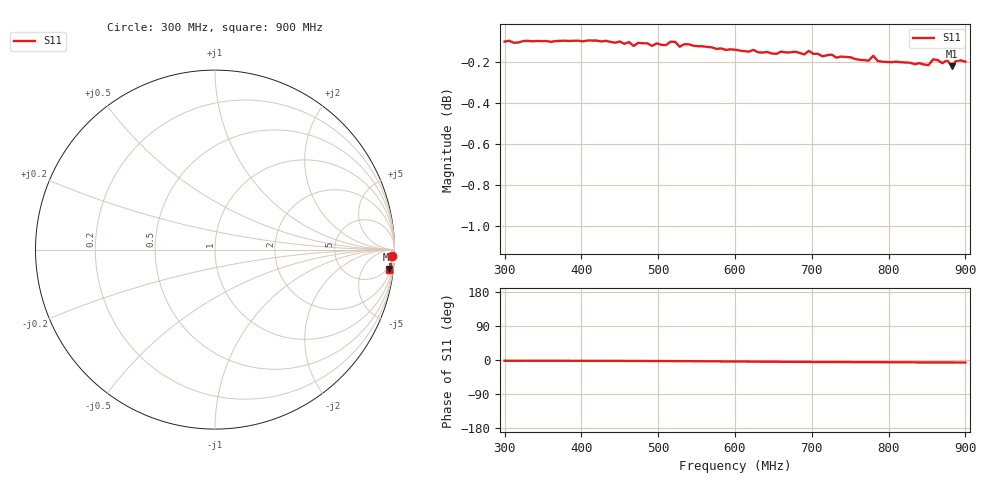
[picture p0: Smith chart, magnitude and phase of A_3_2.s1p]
# HZ S RI R 50
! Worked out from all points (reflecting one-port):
!   101 points, 300 MHz to 900 MHz, reference 50 ohm
!   lowest |S11| = -0.2 dB at 882 MHz (marker M1), VSWR 78.54, Z = 196 - j854 ohm
!   phase of S11 starts at -2 deg and turns -4 deg over the sweep
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3e8  0.9876 -0.0349
3.78e8  0.988 -0.0359
4.5e8  0.9874 -0.0407
4.68e8  0.9849 -0.0424
5.22e8  0.9867 -0.0518
5.28e8  0.984 -0.0517
5.4e8  0.9852 -0.0541
6e8  0.9815 -0.0662
6.48e8  0.9784 -0.0793
6.54e8  0.9783 -0.0784
6.6e8  0.9793 -0.0818
6.78e8  0.979 -0.0848
6.84e8  0.9784 -0.0838
7.02e8  0.9774 -0.0898
7.14e8  0.976 -0.0889
7.5e8  0.975 -0.0947
7.74e8  0.9728 -0.0981
7.8e8  0.9753 -0.0997
7.86e8  0.9724 -0.099
8.28e8  0.971 -0.1046
8.52e8  0.9692 -0.1087
8.58e8  0.9725 -0.108
8.64e8  0.9717 -0.1105
8.7e8  0.9701 -0.1101
8.76e8  0.972 -0.109
8.82e8  0.9688 -0.1081
8.88e8  0.9711 -0.1122
9e8  0.9708 -0.111
